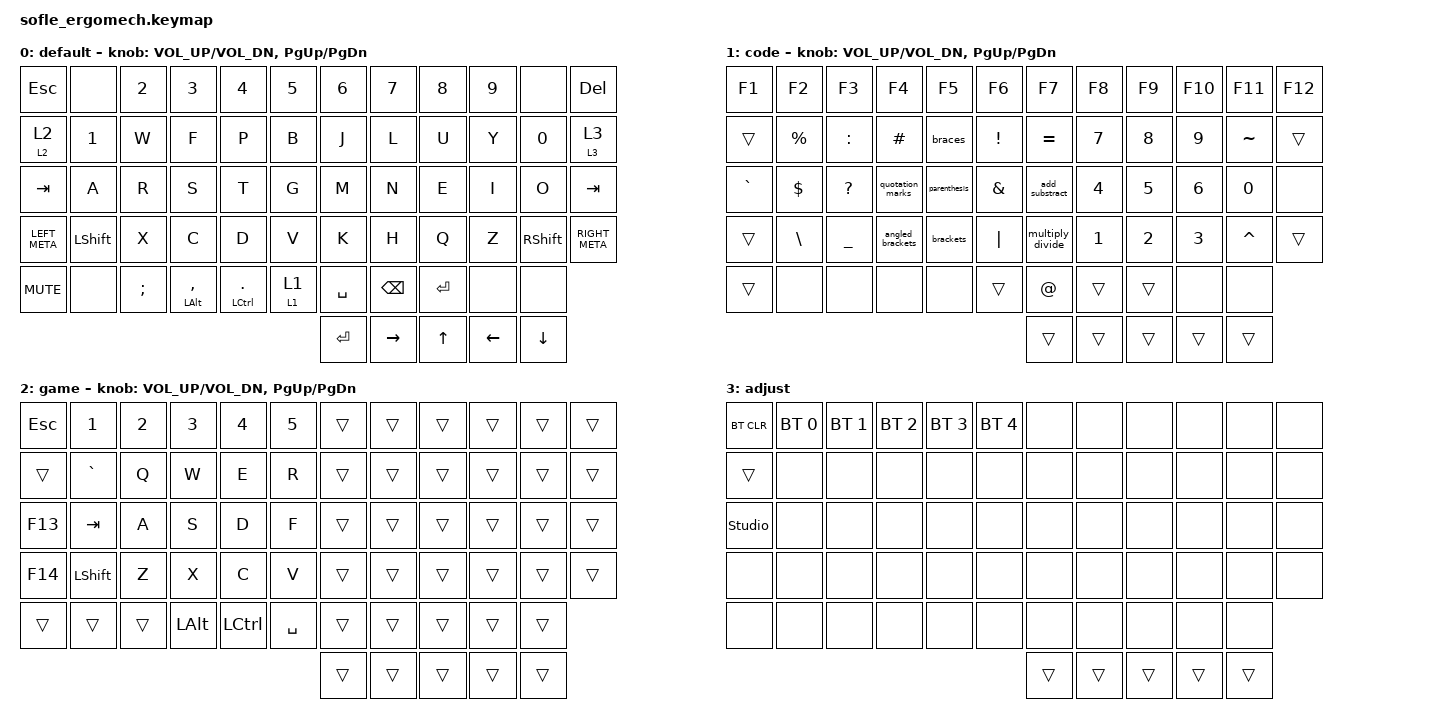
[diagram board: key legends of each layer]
/*
 * Copyright (c) 2020 The ZMK Contributors
 *
 * SPDX-License-Identifier: MIT
 */

#include <behaviors.dtsi>
#include <dt-bindings/zmk/bt.h>
#include <dt-bindings/zmk/keys.h>

#define BASE 0
#define LOWER 1
#define RAISE 2
#define ADJUST 3

/ {
    // Activate ADJUST layer by pressing raise and lower

    conditional_layers {
        compatible = "zmk,conditional-layers";

        adjust_layer {
            if-layers = <LOWER RAISE>;
            then-layer = <ADJUST>;
        };
    };

    behaviors {
        layer_switch: layer_switch {
            compatible = "zmk,behavior-hold-tap";
            label = "LAYER_SWITCH";
            #binding-cells = <2>;
            bindings = <&mo>, <&to>;

            tapping-term-ms = <200>;
        };

        parenthesis: parenthesis {
            compatible = "zmk,behavior-tap-dance";
            label = "PARENTHESIS";
            #binding-cells = <0>;
            bindings = <&kp LEFT_PARENTHESIS>, <&kp RIGHT_PARENTHESIS>;
        };

        braces: braces {
            compatible = "zmk,behavior-tap-dance";
            label = "BRACES";
            #binding-cells = <0>;
            bindings = <&kp LEFT_BRACE>, <&kp RIGHT_BRACE>;
        };

        brackets: brackets {
            compatible = "zmk,behavior-tap-dance";
            label = "BRACKETS";
            #binding-cells = <0>;
            bindings = <&kp LEFT_BRACKET>, <&kp RIGHT_BRACKET>;
        };

        angled_brackets: angled_brackets {
            compatible = "zmk,behavior-tap-dance";
            label = "ANGLED_BRACKETS";
            #binding-cells = <0>;
            bindings = <&kp LESS_THAN>, <&kp GREATER_THAN>;
        };

        quotation_marks: quotation_marks {
            compatible = "zmk,behavior-tap-dance";
            label = "QUOTATION_MARKS";
            #binding-cells = <0>;
            bindings = <&kp SINGLE_QUOTE>, <&kp DOUBLE_QUOTES>;
        };

        add_substract: add_substract {
            compatible = "zmk,behavior-tap-dance";
            label = "ADD_SUBSTRACT";
            #binding-cells = <0>;
            bindings = <&kp PLUS>, <&kp MINUS>;
        };

        multiply_divide: multiply_divide {
            compatible = "zmk,behavior-tap-dance";
            label = "MULTIPLY_DIVIDE";
            #binding-cells = <0>;
            bindings = <&kp ASTERISK>, <&kp SLASH>;
        };
    };

    keymap {
        compatible = "zmk,keymap";

        default_layer {
            label = "default";

            // ------------------------------------------------------------------------------------------------------------
            // |   `   |  1  |  2  |  3   |  4   |  5   |                   |  6   |  7    |  8    |  9   |   0   |       |
            // |  ESC  |  Q  |  W  |  E   |  R   |  T   |                   |  Y   |  U    |  I    |  O   |   P   | BKSPC |
            // |  TAB  |  A  |  S  |  D   |  F   |  G   |                   |  H   |  J    |  K    |  L   |   ;   |   '   |
            // | SHIFT |  Z  |  X  |  C   |  V   |  B   |  MUTE  |  |       |  N   |  M    |  ,    |  .   |   /   | SHIFT |
            //               | GUI | ALT  | CTRL | LOWER|  ENTER |  | SPACE | RAISE| CTRL  | ALT   | GUI  |

            bindings = <
&kp ESC            &none           &kp N2         &kp N3              &kp N4                   &kp N5             &kp N6     &kp N7         &kp N8        &kp N9    &none            &kp DELETE
&layer_switch 2 2  &kp N1          &kp W          &kp F               &kp P                    &kp B              &kp J      &kp L          &kp U         &kp Y     &kp N0           &layer_switch 3 3
&kp TAB            &kp A           &kp R          &kp S               &kp T                    &kp G              &kp M      &kp N          &kp E         &kp I     &kp O            &kp TAB
&kp LEFT_META      &kp LEFT_SHIFT  &kp X          &kp C               &kp D                    &kp V              &kp K      &kp H          &kp Q         &kp Z     &kp RIGHT_SHIFT  &kp RIGHT_META
&kp C_MUTE         &none           &kp SEMICOLON  &mt LEFT_ALT COMMA  &mt LEFT_CONTROL PERIOD  &layer_switch 1 1  &kp SPACE  &kp BACKSPACE  &kp ENTER     &none     &none
                                                                                                                  &kp ENTER  &kp RIGHT      &kp UP_ARROW  &kp LEFT  &kp DOWN
            >;

            sensor-bindings = <&inc_dec_kp C_VOL_UP C_VOL_DN &inc_dec_kp PG_UP PG_DN>;
        };

        code_layer {
            label = "code";

            // TODO: Some binds are waiting for shifted keycode support.
            // ------------------------------------------------------------------------------------------------------------
            // |       |  F1 |  F2 |  F3  |  F4  |  F5  |                   |  F6  |  F7   |  F8   |  F9  |  F10  |  F11  |
            // |   `   |  1  |  2  |  3   |  4   |  5   |                   |  6   |  7    |  8    |  9   |   0   |  F12  |
            // |       |  !  |  @  |  #   |  $   |  %   |                   |  ^   |  &    |  *    |  (   |   )   |   |   |
            // |       |  =  |  -  |  +   |  {   |  }   |        |  |       |  [   |  ]    |  ;    |  :   |   \   |       |
            //               |     |      |      |      |        |  |       |      |       |       |      |

            bindings = <
&kp F1     &kp F2         &kp F3          &kp F4            &kp F5        &kp F6           &kp F7            &kp F8  &kp F9  &kp F10  &kp F11    &kp F12
&trans     &kp PERCENT    &kp COLON       &kp HASH          &braces       &kp EXCLAMATION  &kp EQUAL         &kp N7  &kp N8  &kp N9   &kp TILDE  &trans
&kp GRAVE  &kp DOLLAR     &kp QUESTION    &quotation_marks  &parenthesis  &kp AMPERSAND    &add_substract    &kp N4  &kp N5  &kp N6   &kp N0     &none
&trans     &kp BACKSLASH  &kp UNDERSCORE  &angled_brackets  &brackets     &kp PIPE         &multiply_divide  &kp N1  &kp N2  &kp N3   &kp CARET  &trans
&trans     &none          &none           &none             &none         &trans           &kp AT_SIGN       &trans  &trans  &none    &none
                                                                                           &trans            &trans  &trans  &trans   &trans
            >;

            sensor-bindings = <&inc_dec_kp C_VOL_UP C_VOL_DN &inc_dec_kp PG_UP PG_DN>;
        };

        game_layer {
            label = "game";

            // ------------------------------------------------------------------------------------------------------------
            // | BTCLR | BT1  | BT2  |  BT3  |  BT4  |  BT5 |                |      |      |       |      |       |       |
            // |       | INS  | PSCR | GUI   |       |      |                | PGUP |      |   ^   |      |       |       |
            // |       | ALT  | CTRL | SHIFT |       | CAPS |                | PGDN |   <- |   v   |  ->  |  DEL  | BKSPC |
            // |       | UNDO | CUT  | COPY  | PASTE |      |      |  |      |      |      |       |      |       |       |
            //                |      |       |       |      |      |  |      |      |      |       |      |

            bindings = <
&kp ESC  &kp N1     &kp N2  &kp N3    &kp N4     &kp N5     &trans  &trans  &trans  &trans  &trans  &trans
&trans   &kp GRAVE  &kp Q   &kp W     &kp E      &kp R      &trans  &trans  &trans  &trans  &trans  &trans
&kp F13  &kp TAB    &kp A   &kp S     &kp D      &kp F      &trans  &trans  &trans  &trans  &trans  &trans
&kp F14  &kp LSHFT  &kp Z   &kp X     &kp C      &kp V      &trans  &trans  &trans  &trans  &trans  &trans
&trans   &trans     &trans  &kp LALT  &kp LCTRL  &kp SPACE  &trans  &trans  &trans  &trans  &trans
                                                            &trans  &trans  &trans  &trans  &trans
            >;

            sensor-bindings = <&inc_dec_kp C_VOL_UP C_VOL_DN &inc_dec_kp PG_UP PG_DN>;
        };

        adjust_layer {
            // ----------------------------------------------------------------------------------------------------------------------------
            // | BTCLR  |  BT1    |  BT2    |   BT3   |   BT4   |   BT5   |                  |      |      |       |      |       |       |
            // | EXTPWR | RGB_HUD | RGB_HUI | RGB_SAD | RGB_SAI | RGB_EFF |                  |      |      |       |      |       |       |
            // |        | RGB_BRD | RGB_BRI |         |         |         |                  |      |      |       |      |       |       |
            // |        |         |         |         |         |         | RGB_TOG | |      |      |      |       |      |       |       |
            //                    |         |         |         |         |         | |      |      |      |       |      |

            label = "adjust";
            bindings = <
&bt BT_CLR      &bt BT_SEL 0  &bt BT_SEL 1  &bt BT_SEL 2  &bt BT_SEL 3  &bt BT_SEL 4  &none   &none   &none   &none   &none   &none
&trans          &none         &none         &none         &none         &none         &none   &none   &none   &none   &none   &none
&studio_unlock  &none         &none         &none         &none         &none         &none   &none   &none   &none   &none   &none
&none           &none         &none         &none         &none         &none         &none   &none   &none   &none   &none   &none
&none           &none         &none         &none         &none         &none         &none   &none   &none   &none   &none
                                                                                      &trans  &trans  &trans  &trans  &trans
            >;
        };
    };
};
